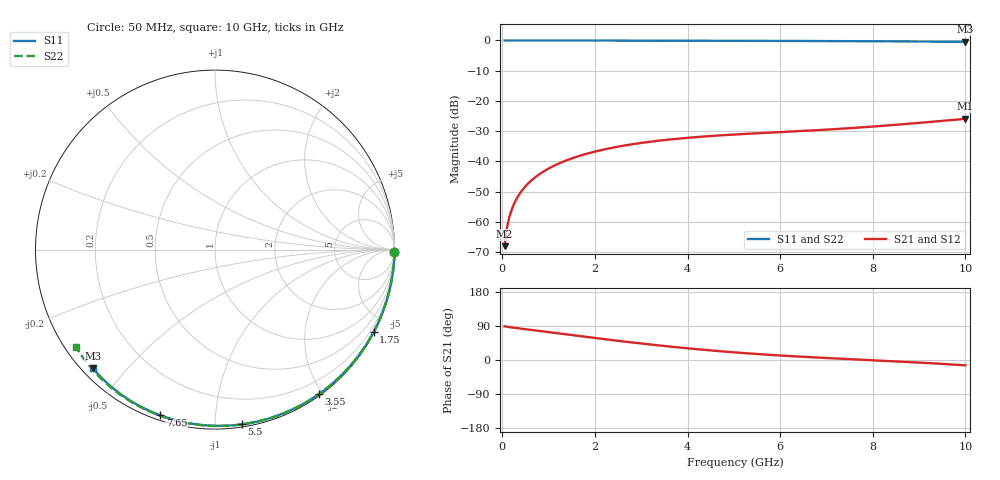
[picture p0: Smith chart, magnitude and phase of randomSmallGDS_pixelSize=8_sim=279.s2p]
! freq	dB(S11)	phase(S11)	dB(S12)	phase(S12)
!  dB(S21)	phase(S21)	dB(S22)	phase(S22)
!S-par simulation data
#  GHz  S  DB  R 50
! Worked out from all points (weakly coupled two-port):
!   200 points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, 50 MHz to 10 GHz, reference 50 ohm
!   highest |S21| = -25.91 dB at 10 GHz (marker M1); lowest = -68.0 dB at 50 MHz (marker M2)
!   lowest |S11| = -0.5 dB at 10 GHz (marker M3), VSWR 38.32, Z = 1.52 - j20.3 ohm
!   |S11| at or under -10 dB: nowhere
!   |S22| runs from -0.5 to 0.0 dB; largest |S21 - S12| = 0
!   S11 on the Smith chart (normalised r, x): 50 MHz: open; 1.75 GHz: 0.04, -4.09; 3.55 GHz: 0.02, -1.95; 5.5 GHz: 0.02, -1.16; 7.65 GHz: 0.02, -0.72; 10 GHz: 0.03, -0.41
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0.05  -0.00 -0.8  -68.02 88.9  -68.02 88.9  -0.00 -0.9
0.1  -0.00 -1.6  -62.03 87.8  -62.03 87.8  -0.00 -1.7
0.15  -0.00 -2.4  -58.54 86.8  -58.54 86.8  -0.00 -2.6
0.2  -0.00 -3.2  -56.08 86.0  -56.08 86.0  -0.00 -3.4
0.25  -0.00 -4.0  -54.17 85.2  -54.17 85.2  -0.00 -4.3
0.35  -0.00 -5.6  -51.29 83.6  -51.29 83.6  -0.00 -6.0
0.5  -0.01 -8.0  -48.23 81.3  -48.23 81.3  -0.01 -8.5
0.7  -0.01 -11.1  -45.36 78.2  -45.36 78.2  -0.01 -11.9
1  -0.02 -15.9  -42.35 73.4  -42.35 73.4  -0.02 -16.9
1.35  -0.03 -21.3  -39.86 67.9  -39.86 67.9  -0.03 -22.8
1.75  -0.04 -27.5  -37.78 61.7  -37.78 61.7  -0.04 -29.4
2.5  -0.05 -38.9  -35.11 50.5  -35.11 50.5  -0.05 -41.6
3.4  -0.07 -52.2  -33.11 38.2  -33.11 38.2  -0.08 -55.7
3.55  -0.07 -54.4  -32.85 36.3  -32.85 36.3  -0.08 -58.0
4.3  -0.09 -65.0  -31.82 27.4  -31.82 27.4  -0.10 -69.3
5.05  -0.12 -75.3  -31.07 19.8  -31.07 19.8  -0.12 -80.2
5.5  -0.13 -81.3  -30.69 15.8  -30.69 15.8  -0.14 -86.6
6.7  -0.19 -96.7  -29.74 7.2  -29.74 7.2  -0.20 -102.9
7.65  -0.24 -108.3  -28.86 1.6  -28.86 1.6  -0.26 -115.3
8.35  -0.30 -116.7  -28.07 -2.5  -28.07 -2.5  -0.32 -124.3
9.2  -0.37 -126.6  -26.99 -8.1  -26.99 -8.1  -0.40 -135.0
10  -0.45 -135.8  -25.91 -14.0  -25.91 -14.0  -0.48 -145.1
